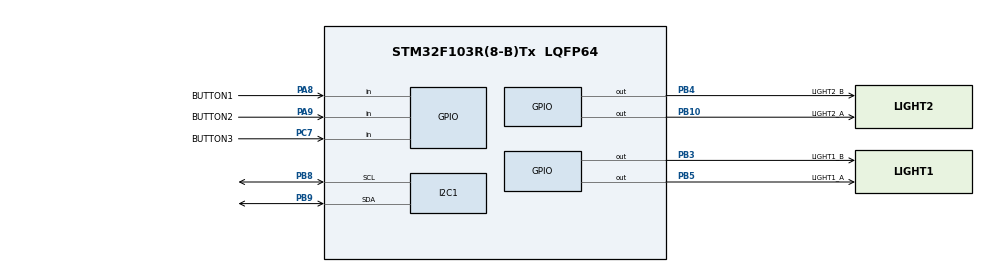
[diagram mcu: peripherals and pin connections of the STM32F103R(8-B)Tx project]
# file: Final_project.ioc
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Mcu.Family=STM32F1
Mcu.Name=STM32F103R(8-B)Tx
Mcu.Package=LQFP64
NVIC.PriorityGroup=NVIC_PRIORITYGROUP_4
NVIC.TIM2_IRQn=true\:0\:0\:false\:false\:true\:true\:true
PA13.Mode=Serial_Wire
PA13.Signal=SYS_JTMS-SWDIO
PA14.Mode=Serial_Wire
PA14.Signal=SYS_JTCK-SWCLK
PA8.GPIO_Label=BUTTON1
PA8.Signal=GPIO_Input
PA9.GPIO_Label=BUTTON2
PA9.Signal=GPIO_Input
PB10.GPIO_Label=LIGHT2_A
PB10.Signal=GPIO_Output
PB3.GPIO_Label=LIGHT1_B
PB3.Signal=GPIO_Output
PB4.GPIO_Label=LIGHT2_B
PB4.Signal=GPIO_Output
PB5.GPIO_Label=LIGHT1_A
PB5.Signal=GPIO_Output
PB8.Mode=I2C
PB8.Signal=I2C1_SCL
PB9.Mode=I2C
PB9.Signal=I2C1_SDA
PC7.GPIO_Label=BUTTON3
PC7.Signal=GPIO_Input
ProjectManager.HeapSize=0x200
ProjectManager.StackSize=0x400
ProjectManager.TargetToolchain=STM32CubeIDE
RCC.APB1Freq_Value=8000000
RCC.APB2Freq_Value=8000000
TIM2.Period=9
TIM2.Prescaler=799
VP_TIM2_VS_ClockSourceINT.Mode=Internal
board=custom

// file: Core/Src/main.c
/* USER CODE BEGIN Header */
/**
  ******************************************************************************
  * @file           : main.c
  * @brief          : Main program body
  ******************************************************************************
  * @attention
  *
  * <h2><center>&copy; Copyright (c) 2025 STMicroelectronics.
  * All rights reserved.</center></h2>
  *
  * This software component is licensed by ST under BSD 3-Clause license,
  * the "License"; You may not use this file except in compliance with the
  * License. You may obtain a copy of the License at:
  *                        opensource.org/licenses/BSD-3-Clause
  *
  ******************************************************************************
  */
/* USER CODE END Header */
#include "main.h"

/* USER CODE BEGIN Includes */
#include "scheduler.h"
#include "button.h"
#include "global.h"
#include "lcd_display.h"
#include "light_display.h"
#include "fsm_normal_state.h"
#include "fsm_manual_state.h"
#include "fsm_config_state.h"
#include "fsm_error_state.h"
/* USER CODE END Includes */

I2C_HandleTypeDef hi2c1;

TIM_HandleTypeDef htim2;

void SystemClock_Config(void);
static void MX_GPIO_Init(void);
static void MX_I2C1_Init(void);
static void MX_TIM2_Init(void);

int main(void)
{

  /* MCU Configuration--------------------------------------------------------*/

  /* Reset of all peripherals, Initializes the Flash interface and the Systick. */
  HAL_Init();

  /* Configure the system clock */
  SystemClock_Config();

  /* Initialize all configured peripherals */
  MX_GPIO_Init();
  MX_I2C1_Init();
  MX_TIM2_Init();
  /* USER CODE BEGIN 2 */
  HAL_TIM_Base_Start_IT(&htim2);
  SCH_Init();
  lcd_init();

  //************************ RGB LEDs Init ********************************//
    RGB_TrafficLight_Init(&RGB_tl1, LIGHT1_A_Pin, LIGHT1_B_Pin,
    		LIGHT1_A_GPIO_Port, LIGHT1_B_GPIO_Port);
    RGB_TrafficLight_Init(&RGB_tl2, LIGHT2_A_Pin, LIGHT2_B_Pin,
    		LIGHT2_A_GPIO_Port, LIGHT2_B_GPIO_Port);

    //************************ Button Init ********************************//
//    Button_Init(&btn[0], BUTTON1_Pin, BUTTON1_GPIO_Port);
//    Button_Init(&btn[1], BUTTON2_Pin, BUTTON2_GPIO_Port);
//    Button_Init(&btn[2], BUTTON3_Pin, BUTTON3_GPIO_Port);

    //************************ Add tasks ********************************//
	SCH_Add_Task(&getKeyInput, 0, 10);

    SCH_Add_Task(&fsm_normal_state, 1, 10);
    SCH_Add_Task(&fsm_manual_wait_state, 1, 10);
    SCH_Add_Task(&fsm_manual_switch_state, 1, 10);
	SCH_Add_Task(&fsm_fixedred_state, 1, 10);
	SCH_Add_Task(&fsm_fixedyellow_state, 1, 10);
	SCH_Add_Task(&fsm_fixedgreen_state, 1, 10);
	SCH_Add_Task(&fsm_error_state, 1, 10);

    SCH_Add_Task(&fsm_processing_trafficlight, 3, 1000);
    SCH_Add_Task(&updateBlink, 3, 250);
    SCH_Add_Task(&fsm_processing_manual_wait, 3, 250);
    SCH_Add_Task(&fsm_processing_manual_switch, 3, 250);
    SCH_Add_Task(&blink_red_trafficlight, 3, 250);
    SCH_Add_Task(&blink_yellow_trafficlight, 3, 250);
    SCH_Add_Task(&blink_green_trafficlight, 3, 250);
    SCH_Add_Task(&blink_led_error_state, 3, 250);

	SCH_Add_Task(&updateLCDBuffer, 5, 100);
  /* USER CODE END 2 */

  /* Infinite loop */
  /* USER CODE BEGIN WHILE */
  while (1)
  {
	  SCH_Dispatch_Tasks();
    /* USER CODE END WHILE */

  }
}

void SystemClock_Config(void)
{
  RCC_OscInitTypeDef RCC_OscInitStruct = {0};
  RCC_ClkInitTypeDef RCC_ClkInitStruct = {0};

  /** Initializes the RCC Oscillators according to the specified parameters
  * in the RCC_OscInitTypeDef structure.
  */
  RCC_OscInitStruct.OscillatorType = RCC_OSCILLATORTYPE_HSI;
  RCC_OscInitStruct.HSIState = RCC_HSI_ON;
  RCC_OscInitStruct.HSICalibrationValue = RCC_HSICALIBRATION_DEFAULT;
  RCC_OscInitStruct.PLL.PLLState = RCC_PLL_NONE;
  if (HAL_RCC_OscConfig(&RCC_OscInitStruct) != HAL_OK)
  {
    Error_Handler();
  }
  /** Initializes the CPU, AHB and APB buses clocks
  */
  RCC_ClkInitStruct.ClockType = RCC_CLOCKTYPE_HCLK|RCC_CLOCKTYPE_SYSCLK
                              |RCC_CLOCKTYPE_PCLK1|RCC_CLOCKTYPE_PCLK2;
  RCC_ClkInitStruct.SYSCLKSource = RCC_SYSCLKSOURCE_HSI;
  RCC_ClkInitStruct.AHBCLKDivider = RCC_SYSCLK_DIV1;
  RCC_ClkInitStruct.APB1CLKDivider = RCC_HCLK_DIV1;
  RCC_ClkInitStruct.APB2CLKDivider = RCC_HCLK_DIV1;

  if (HAL_RCC_ClockConfig(&RCC_ClkInitStruct, FLASH_LATENCY_0) != HAL_OK)
  {
    Error_Handler();
  }
}

static void MX_I2C1_Init(void)
{

  hi2c1.Instance = I2C1;
  hi2c1.Init.ClockSpeed = 100000;
  hi2c1.Init.DutyCycle = I2C_DUTYCYCLE_2;
  hi2c1.Init.OwnAddress1 = 0;
  hi2c1.Init.AddressingMode = I2C_ADDRESSINGMODE_7BIT;
  hi2c1.Init.DualAddressMode = I2C_DUALADDRESS_DISABLE;
  hi2c1.Init.OwnAddress2 = 0;
  hi2c1.Init.GeneralCallMode = I2C_GENERALCALL_DISABLE;
  hi2c1.Init.NoStretchMode = I2C_NOSTRETCH_DISABLE;
  if (HAL_I2C_Init(&hi2c1) != HAL_OK)
  {
    Error_Handler();
  }

}

static void MX_TIM2_Init(void)
{

  TIM_ClockConfigTypeDef sClockSourceConfig = {0};
  TIM_MasterConfigTypeDef sMasterConfig = {0};

  htim2.Instance = TIM2;
  htim2.Init.Prescaler = 799;
  htim2.Init.CounterMode = TIM_COUNTERMODE_UP;
  htim2.Init.Period = 9;
  htim2.Init.ClockDivision = TIM_CLOCKDIVISION_DIV1;
  htim2.Init.AutoReloadPreload = TIM_AUTORELOAD_PRELOAD_DISABLE;
  if (HAL_TIM_Base_Init(&htim2) != HAL_OK)
  {
    Error_Handler();
  }
  sClockSourceConfig.ClockSource = TIM_CLOCKSOURCE_INTERNAL;
  if (HAL_TIM_ConfigClockSource(&htim2, &sClockSourceConfig) != HAL_OK)
  {
    Error_Handler();
  }
  sMasterConfig.MasterOutputTrigger = TIM_TRGO_RESET;
  sMasterConfig.MasterSlaveMode = TIM_MASTERSLAVEMODE_DISABLE;
  if (HAL_TIMEx_MasterConfigSynchronization(&htim2, &sMasterConfig) != HAL_OK)
  {
    Error_Handler();
  }

}

static void MX_GPIO_Init(void)
{
  GPIO_InitTypeDef GPIO_InitStruct = {0};

  /* GPIO Ports Clock Enable */
  __HAL_RCC_GPIOB_CLK_ENABLE();
  __HAL_RCC_GPIOC_CLK_ENABLE();
  __HAL_RCC_GPIOA_CLK_ENABLE();

  /*Configure GPIO pin Output Level */
  HAL_GPIO_WritePin(GPIOB, LIGHT2_A_Pin|LIGHT1_B_Pin|LIGHT2_B_Pin|LIGHT1_A_Pin, GPIO_PIN_RESET);

  /*Configure GPIO pins : LIGHT2_A_Pin LIGHT1_B_Pin LIGHT2_B_Pin LIGHT1_A_Pin */
  GPIO_InitStruct.Pin = LIGHT2_A_Pin|LIGHT1_B_Pin|LIGHT2_B_Pin|LIGHT1_A_Pin;
  GPIO_InitStruct.Mode = GPIO_MODE_OUTPUT_PP;
  GPIO_InitStruct.Pull = GPIO_NOPULL;
  GPIO_InitStruct.Speed = GPIO_SPEED_FREQ_LOW;
  HAL_GPIO_Init(GPIOB, &GPIO_InitStruct);

  /*Configure GPIO pin : BUTTON3_Pin */
  GPIO_InitStruct.Pin = BUTTON3_Pin;
  GPIO_InitStruct.Mode = GPIO_MODE_INPUT;
  GPIO_InitStruct.Pull = GPIO_NOPULL;
  HAL_GPIO_Init(BUTTON3_GPIO_Port, &GPIO_InitStruct);

  /*Configure GPIO pins : BUTTON1_Pin BUTTON2_Pin */
  GPIO_InitStruct.Pin = BUTTON1_Pin|BUTTON2_Pin;
  GPIO_InitStruct.Mode = GPIO_MODE_INPUT;
  GPIO_InitStruct.Pull = GPIO_NOPULL;
  HAL_GPIO_Init(GPIOA, &GPIO_InitStruct);

}

void Error_Handler(void)
{
  __disable_irq();
  while (1)
  {
  }
}

/************************ (C) COPYRIGHT STMicroelectronics *****END OF FILE****/
